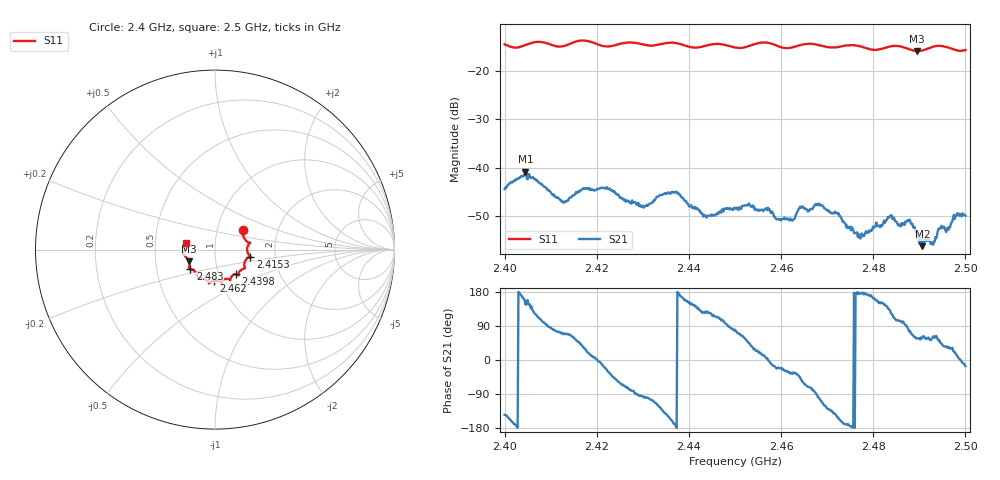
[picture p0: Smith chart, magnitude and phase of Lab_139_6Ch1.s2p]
# Hz S RI R 50
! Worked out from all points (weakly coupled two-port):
!   601 points, 2.4 GHz to 2.5 GHz, reference 50 ohm
!   highest |S21| = -40.76 dB at 2.4045 GHz (marker M1); lowest = -56.2 dB at 2.4907 GHz (marker M2)
!   lowest |S11| = -15.9 dB at 2.4895 GHz (marker M3), VSWR 1.38, Z = 37 - j5 ohm
!   |S11| at or under -10 dB: start of sweep to end of sweep
!   S12 and S22 are empty: the file has one direction only
!   S11 on the Smith chart (normalised r, x): 2.4 GHz: 1.33, +0.29; 2.4153 GHz: 1.48, -0.12; 2.4398 GHz: 1.21, -0.34; 2.462 GHz: 0.93, -0.33; 2.483 GHz: 0.74, -0.17; 2.5 GHz: 0.72, +0.06
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2.4e9  0.1552 0.1068  -0.00493 -0.0035  0 0  0 0
2.4045e9  0.1801 0.044  -0.00767 0.005  0 0  0 0
2.4125e9  0.1793 -0.00793  0.00146 0.00432  0 0  0 0
2.415333e9  0.1964 -0.0388  0.00305 0.00437  0 0  0 0
2.416667e9  0.202 -0.0428  0.00455 0.0038  0 0  0 0
2.4225e9  0.1651 -0.0703  0.00512 -0.00316  0 0  0 0
2.43e9  0.1529 -0.1098  -0.000422 -0.004  0 0  0 0
2.433333e9  0.1312 -0.1336  -0.00253 -0.00439  0 0  0 0
2.437167e9  0.1316 -0.143  -0.00564 -0.00064  0 0  0 0
2.439833e9  0.1154 -0.1364  -0.00374 0.00194  0 0  0 0
2.443667e9  0.0867 -0.1606  -0.00187 0.00258  0 0  0 0
2.45e9  0.0648 -0.1626  0.00066 0.0038  0 0  0 0
2.462e9  -0.00508 -0.1732  0.00244 -0.00176  0 0  0 0
2.466667e9  -0.0343 -0.1876  0.000986 -0.00364  0 0  0 0
2.472167e9  -0.0715 -0.161  -0.00296 -0.00165  0 0  0 0
2.477167e9  -0.0964 -0.1519  -0.00186 0.000106  0 0  0 0
2.483e9  -0.1375 -0.1095  -0.00228 0.00183  0 0  0 0
2.483333e9  -0.14 -0.1093  -0.00216 0.00216  0 0  0 0
2.488e9  -0.1423 -0.0863  0.000677 0.00277  0 0  0 0
2.4895e9  -0.1462 -0.0658  0.00112 0.0017  0 0  0 0
2.490667e9  -0.1552 -0.0495  0.000834 0.00131  0 0  0 0
2.5e9  -0.1597 0.0393  0.00309 -0.000894  0 0  0 0
